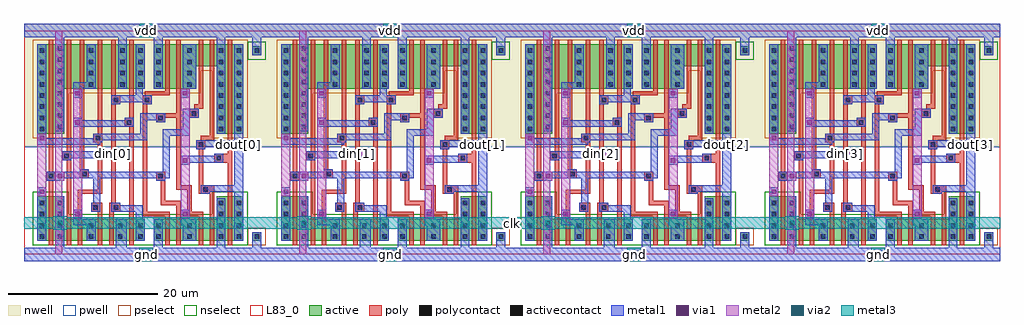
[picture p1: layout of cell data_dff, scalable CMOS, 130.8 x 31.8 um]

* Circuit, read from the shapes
.subckt data_dff clk din[0] din[1] din[2] din[3] dout[0] dout[1] dout[2] dout[3] gnd vdd
M1 gnd clk n1 gnd nfet w=6u l=0.6u
M2 n2 din[0] gnd gnd nfet w=3u l=0.6u
M3 n3 n1 n2 gnd nfet w=3u l=0.6u
M4 n4 clk n3 gnd nfet w=3u l=0.6u
M5 gnd n5 n4 gnd nfet w=3u l=0.6u
M6 n5 n3 gnd gnd nfet w=3u l=0.6u
M7 n6 n5 gnd gnd nfet w=3u l=0.6u
M8 n7 clk n6 gnd nfet w=3u l=0.6u
M9 n8 n1 n7 gnd nfet w=3u l=0.6u
M10 gnd dout[0] n8 gnd nfet w=3u l=0.6u
M11 dout[0] n7 gnd gnd nfet w=6u l=0.6u
M12 gnd clk n9 gnd nfet w=6u l=0.6u
M13 n10 din[1] gnd gnd nfet w=3u l=0.6u
M14 n11 n9 n10 gnd nfet w=3u l=0.6u
M15 n12 clk n11 gnd nfet w=3u l=0.6u
M16 gnd n13 n12 gnd nfet w=3u l=0.6u
M17 n13 n11 gnd gnd nfet w=3u l=0.6u
M18 n14 n13 gnd gnd nfet w=3u l=0.6u
M19 n15 clk n14 gnd nfet w=3u l=0.6u
M20 n16 n9 n15 gnd nfet w=3u l=0.6u
M21 gnd dout[1] n16 gnd nfet w=3u l=0.6u
M22 dout[1] n15 gnd gnd nfet w=6u l=0.6u
M23 gnd clk n17 gnd nfet w=6u l=0.6u
M24 n18 din[2] gnd gnd nfet w=3u l=0.6u
M25 n19 n17 n18 gnd nfet w=3u l=0.6u
M26 n20 clk n19 gnd nfet w=3u l=0.6u
M27 gnd n21 n20 gnd nfet w=3u l=0.6u
M28 n21 n19 gnd gnd nfet w=3u l=0.6u
M29 n22 n21 gnd gnd nfet w=3u l=0.6u
M30 n23 clk n22 gnd nfet w=3u l=0.6u
M31 n24 n17 n23 gnd nfet w=3u l=0.6u
M32 gnd dout[2] n24 gnd nfet w=3u l=0.6u
M33 dout[2] n23 gnd gnd nfet w=6u l=0.6u
M34 gnd clk n25 gnd nfet w=6u l=0.6u
M35 n26 din[3] gnd gnd nfet w=3u l=0.6u
M36 n27 n25 n26 gnd nfet w=3u l=0.6u
M37 n28 clk n27 gnd nfet w=3u l=0.6u
M38 gnd n29 n28 gnd nfet w=3u l=0.6u
M39 n29 n27 gnd gnd nfet w=3u l=0.6u
M40 n30 n29 gnd gnd nfet w=3u l=0.6u
M41 n31 clk n30 gnd nfet w=3u l=0.6u
M42 n32 n25 n31 gnd nfet w=3u l=0.6u
M43 gnd dout[3] n32 gnd nfet w=3u l=0.6u
M44 dout[3] n31 gnd gnd nfet w=6u l=0.6u
M45 vdd clk n1 vdd pfet w=12u l=0.6u
M46 n33 din[0] vdd vdd pfet w=6u l=0.6u
M47 n3 clk n33 vdd pfet w=6u l=0.6u
M48 n34 n1 n3 vdd pfet w=6u l=0.6u
M49 vdd n5 n34 vdd pfet w=6u l=0.6u
M50 n5 n3 vdd vdd pfet w=6u l=0.6u
M51 n35 n5 vdd vdd pfet w=6u l=0.6u
M52 n7 n1 n35 vdd pfet w=6u l=0.6u
M53 n36 clk n7 vdd pfet w=3u l=0.6u
M54 vdd dout[0] n36 vdd pfet w=3u l=0.6u
M55 dout[0] n7 vdd vdd pfet w=12u l=0.6u
M56 vdd clk n9 vdd pfet w=12u l=0.6u
M57 n37 din[1] vdd vdd pfet w=6u l=0.6u
M58 n11 clk n37 vdd pfet w=6u l=0.6u
M59 n38 n9 n11 vdd pfet w=6u l=0.6u
M60 vdd n13 n38 vdd pfet w=6u l=0.6u
M61 n13 n11 vdd vdd pfet w=6u l=0.6u
M62 n39 n13 vdd vdd pfet w=6u l=0.6u
M63 n15 n9 n39 vdd pfet w=6u l=0.6u
M64 n40 clk n15 vdd pfet w=3u l=0.6u
M65 vdd dout[1] n40 vdd pfet w=3u l=0.6u
M66 dout[1] n15 vdd vdd pfet w=12u l=0.6u
M67 vdd clk n17 vdd pfet w=12u l=0.6u
M68 n41 din[2] vdd vdd pfet w=6u l=0.6u
M69 n19 clk n41 vdd pfet w=6u l=0.6u
M70 n42 n17 n19 vdd pfet w=6u l=0.6u
M71 vdd n21 n42 vdd pfet w=6u l=0.6u
M72 n21 n19 vdd vdd pfet w=6u l=0.6u
M73 n43 n21 vdd vdd pfet w=6u l=0.6u
M74 n23 n17 n43 vdd pfet w=6u l=0.6u
M75 n44 clk n23 vdd pfet w=3u l=0.6u
M76 vdd dout[2] n44 vdd pfet w=3u l=0.6u
M77 dout[2] n23 vdd vdd pfet w=12u l=0.6u
M78 vdd clk n25 vdd pfet w=12u l=0.6u
M79 n45 din[3] vdd vdd pfet w=6u l=0.6u
M80 n27 clk n45 vdd pfet w=6u l=0.6u
M81 n46 n25 n27 vdd pfet w=6u l=0.6u
M82 vdd n29 n46 vdd pfet w=6u l=0.6u
M83 n29 n27 vdd vdd pfet w=6u l=0.6u
M84 n47 n29 vdd vdd pfet w=6u l=0.6u
M85 n31 n25 n47 vdd pfet w=6u l=0.6u
M86 n48 clk n31 vdd pfet w=3u l=0.6u
M87 vdd dout[3] n48 vdd pfet w=3u l=0.6u
M88 dout[3] n31 vdd vdd pfet w=12u l=0.6u
.ends

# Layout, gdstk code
from math import pi, radians
import gdstk
lib = gdstk.Library(unit=1e-6, precision=1e-09)
def R(c, l, rs):  # rectangles x0, y0, x1, y1
    for r in rs: c.add(gdstk.rectangle(r[:2], r[2:], *l))
def A(c, l, x, y, w, h, nx, ny, dx, dy):  # array of equal rectangles
    R(c, l, [(x+i*dx, y+j*dy, x+i*dx+w, y+j*dy+h) for i in range(nx) for j in range(ny)])
pwell = (41, 0)
nwell = (42, 0)
active = (43, 0)
pselect = (44, 0)
nselect = (45, 0)
poly = (46, 0)
polycontact = (47, 0)
activecontact = (48, 0)
metal1 = (49, 0)
via1 = (50, 0)
metal2 = (51, 0)
via2 = (61, 0)
metal3 = (62, 0)
L83_0 = (83, 0)

dff = lib.new_cell('dff')
R(dff, pwell, [(0,-0.9,32.7,14.4)])
R(dff, nwell, [(0,14.4,32.7,30.9)])
R(dff, active, [(1.8,1.8,16.2,4.8), (17.4,1.8,29.4,4.8), (30.6,1.8,31.8,3), (1.8,4.8,5.4,7.8), (25.8,4.8,29.4,7.8), (1.8,16.2,5.4,22.2), (25.8,16.2,29.4,25.2), (1.8,22.2,16.2,28.2), (17.4,22.2,23.1,25.2), (17.4,25.2,29.4,28.2), (30.6,26.7,31.8,27.9)])
R(dff, pselect, [(30,1.2,32.4,3.6), (1.2,15.6,6,21.6), (25.2,15.6,30,24.6), (1.2,21.6,23.7,24.6), (1.2,24.6,30,28.8)])
R(dff, nselect, [(1.2,1.2,30,5.4), (1.2,5.4,6,8.4), (25.2,5.4,30,8.4), (30,26.1,32.4,28.5)])
R(dff, poly, [(3.3,1.2,3.9,9.9), (5.7,1.2,6.3,12.6), (7.2,1.2,7.8,8.1), (9.9,1.2,10.5,5.7), (11.4,1.2,12,5.7), (14.1,1.2,14.7,17.1), (18.9,1.2,19.5,5.1), (20.4,1.2,21,6.6), (23.4,1.2,24,5.1), (24.9,1.2,25.5,8.1), (27.3,1.2,27.9,12.3), (15.9,5.1,19.5,5.7), (21.9,5.1,24,5.7), (9,5.7,10.5,6.9), (11.4,5.7,12.9,6.9), (15.9,5.7,16.5,20.1), (21.9,5.7,22.5,8.7), (18.3,6.6,21,7.2), (11.7,6.9,12.3,20.1), (18.3,7.2,18.9,9.9), (7.2,8.1,10.5,8.7), (23.4,8.1,25.5,9.3), (9.9,8.7,10.5,15), (20.4,8.7,22.5,9.3), (20.4,9.3,21,18.3), (23.4,9.3,24,14.1), (3,9.9,4.2,11.1), (17.7,9.9,18.9,11.1), (7.5,10.2,8.7,11.4), (3.3,11.1,3.9,28.8), (7.5,11.4,8.1,28.8), (25.5,12.3,27.9,13.5), (5.1,12.6,6.3,13.8), (27.3,13.5,27.9,28.8), (5.7,13.8,6.3,28.8), (23.1,14.1,24.3,15.3), (9.3,15,10.5,16.2), (23.7,15.3,25.5,15.9), (24.9,15.9,25.5,28.8), (9.9,16.2,10.5,28.8), (13.5,17.1,14.7,18.3), (17.7,17.7,18.9,18.3), (14.1,18.3,14.7,28.8), (17.7,18.3,21,18.9), (22.2,18.3,23.4,19.5), (20.4,18.9,21,28.8), (22.8,19.5,24,20.1), (11.7,20.1,12.9,21.3), (15.9,20.1,17.1,21.3), (23.4,20.1,24,28.8), (11.7,21.3,12.3,28.8), (16.2,21.3,19.5,21.9), (18.9,21.9,19.5,28.8)])
R(dff, polycontact, [(9.3,6,9.9,6.6), (12,6,12.6,6.6), (24,8.4,24.6,9), (3.3,10.2,3.9,10.8), (18,10.2,18.6,10.8), (7.8,10.5,8.4,11.1), (25.8,12.6,26.4,13.2), (5.4,12.9,6,13.5), (23.4,14.4,24,15), (9.6,15.3,10.2,15.9), (13.8,17.4,14.4,18), (18,18,18.6,18.6), (22.5,18.6,23.1,19.2), (12,20.4,12.6,21), (16.2,20.4,16.8,21)])
A(dff, activecontact, 2.1, 2.1, 0.6, 0.6, 1, 4, 0, 1.5)
A(dff, activecontact, 4.5, 2.1, 0.6, 0.6, 1, 4, 0, 1.5)
A(dff, activecontact, 17.7, 2.1, 0.6, 0.6, 3, 2, 4.2, 1.5)
A(dff, activecontact, 28.5, 2.1, 0.6, 0.6, 1, 4, 0, 1.5)
A(dff, activecontact, 2.1, 16.5, 0.6, 0.6, 1, 8, 0, 1.5)
A(dff, activecontact, 26.1, 16.5, 0.6, 0.6, 1, 7, 0, 1.5)
A(dff, activecontact, 28.5, 16.5, 0.6, 0.6, 1, 7, 0, 1.5)
A(dff, activecontact, 4.5, 16.8, 0.6, 0.6, 1, 8, 0, 1.5)
A(dff, activecontact, 8.7, 22.5, 0.6, 0.6, 1, 4, 0, 1.5)
A(dff, activecontact, 12.9, 22.5, 0.6, 0.6, 3, 4, 2.4, 1.5)
A(dff, activecontact, 21.9, 22.5, 0.6, 0.6, 1, 4, 0, 1.5)
A(dff, activecontact, 26.1, 27, 0.6, 0.6, 3, 1, 2.4, 0)
R(dff, activecontact, [(8.7,2.1,9.3,2.7), (12.6,2.1,13.2,2.7), (15.3,2.1,15.9,2.7), (30.9,2.1,31.5,2.7), (8.7,3.6,9.3,4.2), (12.6,3.6,13.2,4.2), (15.3,3.6,15.9,4.2), (26.1,5.1,26.7,5.7), (26.1,6.6,26.7,7.2)])
R(dff, metal1, [(0,-0.9,32.7,0.9), (0,-0.9,32.7,0.9), (4.2,0.9,5.4,7.8), (12.3,0.9,13.8,4.8), (17.4,0.9,18.6,4.8), (25.8,0.9,27,7.5), (30.6,0.9,31.8,3), (1.8,1.8,3,9), (8.4,1.8,9.6,3.9), (15,1.8,16.2,4.8), (21.3,1.8,23.1,3.9), (28.2,1.8,29.4,8.4), (6.6,3.9,9.6,4.8), (21,3.9,23.1,4.8), (6.6,4.8,7.8,6), (15,4.8,15.9,5.7), (21,4.8,22.2,6), (9,5.7,10.2,6.9), (11.7,5.7,15.9,6.6), (11.7,6.6,12.9,6.9), (9.3,6.9,10.2,10.2), (23.7,8.1,24.9,8.4), (23.7,8.4,29.4,9.3), (28.2,9.3,29.4,14.4), (3,9.9,5.4,10.2), (17.7,9.9,18.9,10.2), (3,10.2,19.5,11.1), (7.5,11.1,8.7,11.4), (18.6,11.1,19.5,15.9), (21,12,22.2,12.3), (21,12.3,26.7,13.2), (5.1,12.6,6.3,12.9), (5.1,12.9,12.6,13.8), (25.5,13.2,26.7,13.5), (11.4,13.8,12.6,14.1), (23.1,14.1,24.3,14.4), (23.1,14.4,29.4,15.3), (1.8,14.7,10.2,15), (1.8,15,10.5,15.3), (1.8,15.3,16.5,15.6), (28.2,15.3,29.4,28.2), (1.8,15.6,3,28.2), (9.3,15.6,16.5,16.2), (18.6,15.9,22.2,16.8), (15.6,16.2,16.5,18), (25.8,16.2,27,29.1), (4.2,16.5,5.4,29.1), (21.3,16.8,22.2,18.3), (6.6,17.1,14.7,18), (17.7,17.7,18.9,18), (6.6,18,7.8,18.3), (13.5,18,14.7,18.3), (15.6,18,18.9,18.9), (21.3,18.3,23.4,19.5), (11.7,20.1,12.9,20.4), (15.9,20.1,17.1,20.4), (11.7,20.4,17.1,21.3), (6.6,21,7.8,22.2), (21,21,22.2,22.2), (15,21.3,15.9,22.2), (6.6,22.2,9.6,23.1), (12.6,22.2,13.8,29.1), (15,22.2,16.2,28.2), (17.4,22.2,18.6,29.1), (21.3,22.2,23.1,28.2), (8.4,23.1,9.6,28.2), (30.6,26.7,31.8,29.1), (0,29.1,32.7,30.9), (0,29.1,32.7,30.9)])
R(dff, via1, [(6.9,5.1,7.5,5.7), (21.3,5.1,21.9,5.7), (2.1,8.1,2.7,8.7), (4.5,10.2,5.1,10.8), (21.3,12.3,21.9,12.9), (11.7,13.2,12.3,13.8), (28.5,14.4,29.1,15), (2.1,15.3,2.7,15.9), (6.9,17.4,7.5,18), (6.9,21.3,7.5,21.9), (21.3,21.3,21.9,21.9)])
R(dff, metal2, [(6.6,4.8,7.8,22.2), (21,4.8,22.2,22.2), (1.8,7.8,3,16.2), (4.2,9.9,5.4,11.1), (4.2,9.9,5.4,11.1), (11.4,12.9,12.6,14.1), (11.4,12.9,12.6,14.1), (28.2,14.1,29.4,15.3), (28.2,14.1,29.4,15.3)])
R(dff, L83_0, [(0,0,32.7,30)])
dff.add(gdstk.Label('clk', (4.5,10.2), layer=51, texttype=0))
dff.add(gdstk.Label('D', (12,13.5), layer=51, texttype=0))
dff.add(gdstk.Label('Q', (28.8,14.7), layer=51, texttype=0))
dff.add(gdstk.Label('vdd', (9.6,29.4), layer=49, texttype=0))
dff.add(gdstk.Label('gnd', (13.2,0.3), layer=49, texttype=0))
dff.add(gdstk.Label('D', (12,13.5), layer=51, texttype=0))
dff.add(gdstk.Label('Q', (28.8,14.7), layer=51, texttype=0))
dff.add(gdstk.Label('clk', (4.8,10.5), layer=51, texttype=0))
dff.add(gdstk.Label('vdd', (16.35,30), layer=49, texttype=0))
dff.add(gdstk.Label('gnd', (16.35,0), layer=49, texttype=0))

metal1_via1_metal2_1x1 = lib.new_cell('metal1_via1_metal2_1x1')
R(metal1_via1_metal2_1x1, metal1, [(0,0,1.2,1.2)])
R(metal1_via1_metal2_1x1, via1, [(0.3,0.3,0.9,0.9)])
R(metal1_via1_metal2_1x1, metal2, [(0,0,1.2,1.2)])

metal2_via2_metal3_1x1 = lib.new_cell('metal2_via2_metal3_1x1')
R(metal2_via2_metal3_1x1, metal2, [(0.3,0.3,1.5,1.5)])
R(metal2_via2_metal3_1x1, via2, [(0.6,0.6,1.2,1.2)])
R(metal2_via2_metal3_1x1, metal3, [(0,0,1.8,1.8)])

data_dff = lib.new_cell('data_dff')
A(data_dff, metal2, 4.2, 0, 0.9, 30, 4, 1, 32.7, 0)
A(data_dff, metal2, 11.4, 12.9, 1.2, 1.2, 4, 1, 32.7, 0)
A(data_dff, metal2, 28.2, 14.1, 1.2, 1.2, 4, 1, 32.7, 0)
A(data_dff, metal3, 15.6, -0.75, 1.5, 1.5, 4, 2, 32.7, 30)
R(data_dff, metal3, [(0,3.45,130.8,4.95)])
data_dff.add(gdstk.Reference(dff, (0,0)))
data_dff.add(gdstk.Reference(dff, (32.7,0)))
data_dff.add(gdstk.Reference(dff, (65.4,0)))
data_dff.add(gdstk.Reference(dff, (98.1,0)))
data_dff.add(gdstk.Reference(metal1_via1_metal2_1x1, (16.95,29.4), rotation=pi/2))
data_dff.add(gdstk.Reference(metal2_via2_metal3_1x1, (17.25,29.1), rotation=pi/2))
data_dff.add(gdstk.Reference(metal1_via1_metal2_1x1, (16.95,-0.6), rotation=pi/2))
data_dff.add(gdstk.Reference(metal2_via2_metal3_1x1, (17.25,-0.9), rotation=pi/2))
data_dff.add(gdstk.Reference(metal1_via1_metal2_1x1, (49.65,29.4), rotation=pi/2))
data_dff.add(gdstk.Reference(metal2_via2_metal3_1x1, (49.95,29.1), rotation=pi/2))
data_dff.add(gdstk.Reference(metal1_via1_metal2_1x1, (49.65,-0.6), rotation=pi/2))
data_dff.add(gdstk.Reference(metal2_via2_metal3_1x1, (49.95,-0.9), rotation=pi/2))
data_dff.add(gdstk.Reference(metal1_via1_metal2_1x1, (82.35,29.4), rotation=pi/2))
data_dff.add(gdstk.Reference(metal2_via2_metal3_1x1, (82.65,29.1), rotation=pi/2))
data_dff.add(gdstk.Reference(metal1_via1_metal2_1x1, (82.35,-0.6), rotation=pi/2))
data_dff.add(gdstk.Reference(metal2_via2_metal3_1x1, (82.65,-0.9), rotation=pi/2))
data_dff.add(gdstk.Reference(metal1_via1_metal2_1x1, (115.05,29.4), rotation=pi/2))
data_dff.add(gdstk.Reference(metal2_via2_metal3_1x1, (115.35,29.1), rotation=pi/2))
data_dff.add(gdstk.Reference(metal1_via1_metal2_1x1, (115.05,-0.6), rotation=pi/2))
data_dff.add(gdstk.Reference(metal2_via2_metal3_1x1, (115.35,-0.9), rotation=pi/2))
data_dff.add(gdstk.Reference(metal2_via2_metal3_1x1, (3.9,3.3)))
data_dff.add(gdstk.Reference(metal2_via2_metal3_1x1, (36.6,3.3)))
data_dff.add(gdstk.Reference(metal2_via2_metal3_1x1, (69.3,3.3)))
data_dff.add(gdstk.Reference(metal2_via2_metal3_1x1, (102,3.3)))
data_dff.add(gdstk.Label('vdd', (16.35,30), layer=62, texttype=0))
data_dff.add(gdstk.Label('vdd', (49.05,30), layer=62, texttype=0))
data_dff.add(gdstk.Label('vdd', (81.75,30), layer=62, texttype=0))
data_dff.add(gdstk.Label('vdd', (114.45,30), layer=62, texttype=0))
data_dff.add(gdstk.Label('gnd', (16.35,0), layer=62, texttype=0))
data_dff.add(gdstk.Label('gnd', (49.05,0), layer=62, texttype=0))
data_dff.add(gdstk.Label('gnd', (81.75,0), layer=62, texttype=0))
data_dff.add(gdstk.Label('gnd', (114.45,0), layer=62, texttype=0))
data_dff.add(gdstk.Label('din[0]', (12,13.5), layer=51, texttype=0))
data_dff.add(gdstk.Label('dout[0]', (28.8,14.7), layer=51, texttype=0))
data_dff.add(gdstk.Label('din[1]', (44.7,13.5), layer=51, texttype=0))
data_dff.add(gdstk.Label('dout[1]', (61.5,14.7), layer=51, texttype=0))
data_dff.add(gdstk.Label('din[2]', (77.4,13.5), layer=51, texttype=0))
data_dff.add(gdstk.Label('dout[2]', (94.2,14.7), layer=51, texttype=0))
data_dff.add(gdstk.Label('din[3]', (110.1,13.5), layer=51, texttype=0))
data_dff.add(gdstk.Label('dout[3]', (126.9,14.7), layer=51, texttype=0))
data_dff.add(gdstk.Label('clk', (65.4,4.2), layer=62, texttype=0))

lib.write_gds('data_dff.gds')
